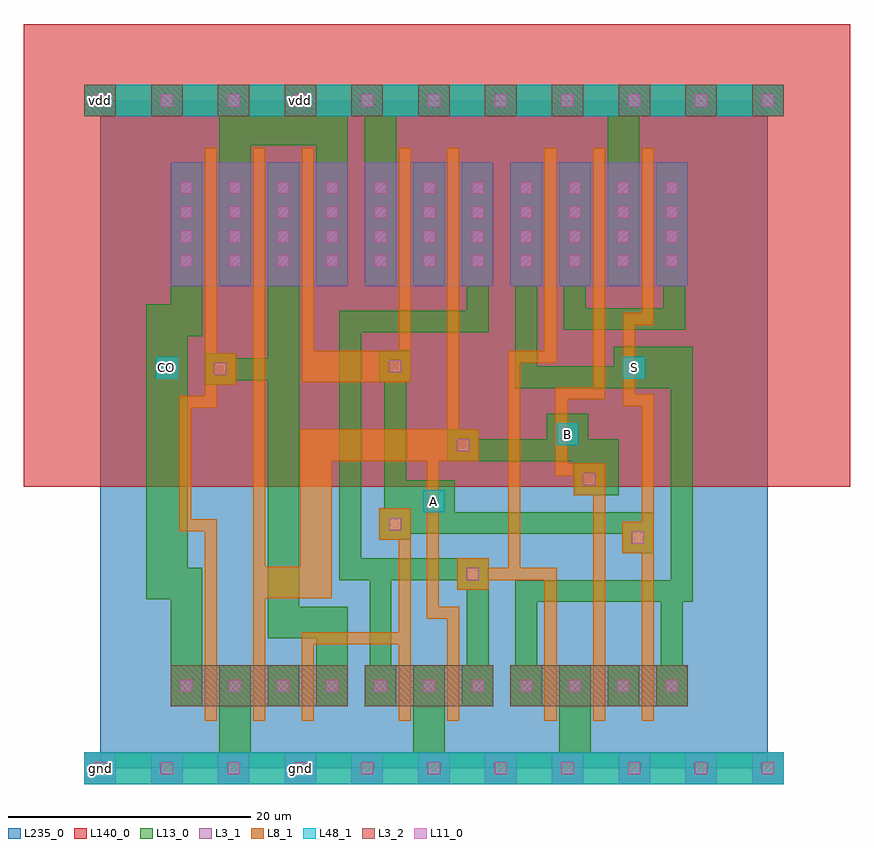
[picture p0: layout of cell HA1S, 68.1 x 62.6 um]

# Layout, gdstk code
import gdstk
lib = gdstk.Library(unit=1e-6, precision=1e-09)
def R(c, l, rs):  # rectangles x0, y0, x1, y1
    for r in rs: c.add(gdstk.rectangle(r[:2], r[2:], *l))
def A(c, l, x, y, w, h, nx, ny, dx, dy):  # array of equal rectangles
    R(c, l, [(x+i*dx, y+j*dy, x+i*dx+w, y+j*dy+h) for i in range(nx) for j in range(ny)])
def P(c, l, *ps):  # polygons
    for p in ps: c.add(gdstk.Polygon(p, *l))
L3_1 = (3, 1)
L3_2 = (3, 2)
L8_1 = (8, 1)
L11_0 = (11, 0)
L13_0 = (13, 0)
L48_1 = (48, 1)
L140_0 = (140, 0)
L235_0 = (235, 0)

cont_n = lib.new_cell('cont_n')
R(cont_n, L3_2, [(-1.3,-1.3,1.3,1.3)])
R(cont_n, L11_0, [(-0.5,-0.5,0.5,0.5)])
R(cont_n, L13_0, [(-1.3,-1.3,1.3,1.3)])

cont_p = lib.new_cell('cont_p')
R(cont_p, L3_1, [(-1.3,-1.3,1.3,1.3)])
R(cont_p, L11_0, [(-0.5,-0.5,0.5,0.5)])
R(cont_p, L13_0, [(-1.3,-1.3,1.3,1.3)])

ha1s = lib.new_cell('HA1S')
A(ha1s, L3_1, 5, 0, 2.6, 2.6, 4, 1, 5.5, 0)
R(ha1s, L3_1, [(5,0,7.6,2.6), (12.1,41,18.7,51.2), (12.1,41,18.7,51.2), (16.1,41,26.7,51.2), (16.1,41,26.7,51.2), (28.1,41,38.7,51.2), (28.1,41,38.7,51.2), (40.1,41,54.7,51.2), (40.1,41,54.7,51.2)])
A(ha1s, L3_2, 5, 55, 2.6, 2.6, 4, 1, 5.5, 0)
R(ha1s, L3_2, [(12.1,6.4,18.7,9.8), (16.1,6.4,26.7,9.8), (28.1,6.4,38.7,9.8), (40.1,6.4,54.7,9.8), (5,55,7.6,57.6)])
R(ha1s, L8_1, [(18.9,5.2,19.9,52.4), (22.9,34.4,23.9,52.4)])
P(ha1s, L8_1, [(22.9,5.2),(22.9,12.5),(31.9,12.5),(31.9,11.5),(23.9,11.5),(23.9,5.2)],
  [(29.3,33.1),(29.3,35.7),(30.9,35.7),(30.9,52.4),(31.9,52.4),(31.9,33.1)],
  [(30.9,5.2),(30.9,20.1),(29.3,20.1),(29.3,22.7),(31.9,22.7),(31.9,5.2)],
  [(50.9,5.2),(50.9,19),(49.3,19),(49.3,21.6),(50.9,21.6),(50.9,31.1),(49.4,31.1),(49.4,38.8),(50.9,38.8),(50.9,52.4),(51.9,52.4),(51.9,37.8),(50.4,37.8),(50.4,32.1),(51.9,32.1),(51.9,5.2)],
  [(46.9,5.2),(46.9,23.8),(45.3,23.8),(45.3,25.4),(43.8,25.4),(43.8,32.7),(46.9,32.7),(46.9,52.4),(47.9,52.4),(47.9,31.7),(44.8,31.7),(44.8,26.4),(47.9,26.4),(47.9,5.2)],
  [(42.9,5.2),(42.9,16.8),(38.3,16.8),(38.3,16),(35.7,16),(35.7,18.6),(38.3,18.6),(38.3,17.8),(39.9,17.8),(39.9,35.7),(42.9,35.7),(42.9,52.4),(43.9,52.4),(43.9,34.7),(40.9,34.7),(40.9,17.8),(43.9,17.8),(43.9,5.2)],
  [(34.9,5.2),(34.9,13.6),(33.2,13.6),(33.2,27.6),(34.9,27.6),(34.9,52.4),(35.9,52.4),(35.9,29.2),(37.5,29.2),(37.5,26.6),(34.2,26.6),(34.2,14.6),(35.9,14.6),(35.9,5.2)],
  [(14.9,5.2),(14.9,20.8),(12.8,20.8),(12.8,32),(14.9,32),(14.9,52.4),(15.9,52.4),(15.9,35.5),(17.5,35.5),(17.5,32.9),(15.9,32.9),(15.9,31),(13.8,31),(13.8,21.8),(15.9,21.8),(15.9,5.2)])
A(ha1s, L11_0, 5.8, 0.8, 1, 1, 4, 2, 5.5, 55)
A(ha1s, L11_0, 20.9, 7.6, 1, 1, 4, 1, 4, 0)
A(ha1s, L11_0, 32.9, 7.6, 1, 1, 4, 2, 4, 35)
A(ha1s, L11_0, 12.9, 42.6, 1, 1, 1, 4, 0, 2)
A(ha1s, L11_0, 24.9, 42.6, 1, 1, 3, 4, 4, 2)
A(ha1s, L11_0, 44.9, 42.6, 1, 1, 1, 4, 0, 2)
A(ha1s, L11_0, 52.9, 42.6, 1, 1, 1, 4, 0, 2)
A(ha1s, L11_0, 32.9, 44.6, 1, 1, 4, 3, 4, 2)
R(ha1s, L11_0, [(5.8,0.8,6.8,1.8), (12.9,7.6,13.9,8.6), (16.9,7.6,17.9,8.6), (16.9,7.6,17.9,8.6), (20.9,7.6,21.9,8.6), (44.9,7.6,45.9,8.6), (48.9,7.6,49.9,8.6), (48.9,7.6,49.9,8.6), (52.9,7.6,53.9,8.6), (36.5,16.8,37.5,17.8), (50.1,19.8,51.1,20.8), (30.1,20.9,31.1,21.9), (46.1,24.6,47.1,25.6), (35.7,27.4,36.7,28.4), (15.7,33.7,16.7,34.7), (30.1,33.9,31.1,34.9), (16.9,42.6,17.9,43.6), (16.9,42.6,17.9,43.6), (20.9,42.6,21.9,43.6), (20.9,42.6,21.9,43.6), (20.9,42.6,21.9,43.6), (20.9,42.6,21.9,43.6), (24.9,42.6,25.9,43.6), (24.9,42.6,25.9,43.6), (48.9,42.6,49.9,43.6), (48.9,42.6,49.9,43.6), (16.9,44.6,17.9,45.6), (16.9,44.6,17.9,45.6), (20.9,44.6,21.9,45.6), (20.9,44.6,21.9,45.6), (20.9,44.6,21.9,45.6), (20.9,44.6,21.9,45.6), (24.9,44.6,25.9,45.6), (24.9,44.6,25.9,45.6), (48.9,44.6,49.9,45.6), (48.9,44.6,49.9,45.6), (16.9,46.6,17.9,47.6), (16.9,46.6,17.9,47.6), (20.9,46.6,21.9,47.6), (20.9,46.6,21.9,47.6), (20.9,46.6,21.9,47.6), (20.9,46.6,21.9,47.6), (24.9,46.6,25.9,47.6), (24.9,46.6,25.9,47.6), (48.9,46.6,49.9,47.6), (48.9,46.6,49.9,47.6), (16.9,48.6,17.9,49.6), (16.9,48.6,17.9,49.6), (20.9,48.6,21.9,49.6), (20.9,48.6,21.9,49.6), (20.9,48.6,21.9,49.6), (20.9,48.6,21.9,49.6), (24.9,48.6,25.9,49.6), (24.9,48.6,25.9,49.6), (48.9,48.6,49.9,49.6), (48.9,48.6,49.9,49.6), (5.8,55.8,6.8,56.8)])
R(ha1s, L13_0, [(20.1,6.4,22.7,9.8), (48.1,6.4,50.7,9.8), (32.1,21.6,35.5,25), (43.1,27.1,46.5,30.5), (10.1,32.6,13.5,36), (48.6,32.6,52,36), (14.9,32.9,17.5,35.5), (29.3,33.1,31.9,35.7), (32.1,41,34.7,51.2)])
P(ha1s, L13_0, [(28.1,41),(28.1,55),(25.65,55),(25.65,57.6),(62.6,57.6),(62.6,55),(50.7,55),(50.7,41),(48.1,41),(48.1,55),(30.7,55),(30.7,41)],
  [(5,0),(5,2.6),(32.1,2.6),(32.1,9.8),(34.7,9.8),(34.7,2.6),(44.1,2.6),(44.1,9.8),(46.7,9.8),(46.7,2.6),(62.6,2.6),(62.6,0)],
  [(16.1,41),(16.1,55),(5,55),(5,57.6),(62.6,57.6),(62.6,55),(26.7,55),(26.7,41),(24.1,41),(24.1,52.6),(18.7,52.6),(18.7,41)],
  [(12.1,6.4),(12.1,15.2),(10.1,15.2),(10.1,39.5),(12.1,39.5),(12.1,51.2),(14.7,51.2),(14.7,36.9),(13.5,36.9),(13.5,17.8),(14.7,17.8),(14.7,6.4)],
  [(40.1,6.4),(40.1,9.8),(40.5,9.8),(40.5,16.8),(53.3,16.8),(53.3,32.6),(40.5,32.6),(40.5,41),(40.1,41),(40.1,51.2),(42.7,51.2),(42.7,41),(42.3,41),(42.3,34.4),(51.1,34.4),(51.1,36),(55.1,36),(55.1,15),(54.3,15),(54.3,9.8),(54.7,9.8),(54.7,6.4),(52.1,6.4),(52.1,9.8),(52.5,9.8),(52.5,15),(42.3,15),(42.3,9.8),(42.7,9.8),(42.7,6.4)],
  [(45.3,23.8),(45.3,26.6),(34.9,26.6),(34.9,29.2),(37.5,29.2),(37.5,28.4),(49,28.4),(49,23.8)],
  [(49.3,19),(49.3,20.6),(31.9,20.6),(31.9,20.1),(29.3,20.1),(29.3,22.7),(31.9,22.7),(31.5,22.7),(31.5,25),(35.5,25),(35.5,22.4),(51.9,22.4),(51.9,19)],
  [(28.1,6.4),(28.1,9.8),(28.5,9.8),(28.5,16.8),(26,16.8),(26,39),(36.5,39),(36.5,41),(36.1,41),(36.1,51.2),(38.7,51.2),(38.7,41),(38.3,41),(38.3,37.2),(27.8,37.2),(27.8,18.6),(38.3,18.6),(38.3,9.8),(38.7,9.8),(38.7,6.4),(36.1,6.4),(36.1,9.8),(36.5,9.8),(36.5,16),(35.7,16),(35.7,16.8),(30.3,16.8),(30.3,9.8),(30.7,9.8),(30.7,6.4)],
  [(44.5,37.4),(44.5,41),(44.1,41),(44.1,51.2),(46.7,51.2),(46.7,41),(46.3,41),(46.3,39.2),(52.7,39.2),(52.7,41),(52.1,41),(52.1,51.2),(54.7,51.2),(54.7,41),(54.5,41),(54.5,37.4)])
R(ha1s, L48_1, [(5,0,62.6,2.6), (5,0,7.6,2.6), (32.9,22.4,34.7,24.2), (43.9,27.9,45.7,29.7), (10.9,33.4,12.7,35.2), (49.4,33.4,51.2,35.2), (5,55,62.6,57.6), (5,55,7.6,57.6)])
R(ha1s, L140_0, [(0,24.5,68.1,62.6)])
R(ha1s, L235_0, [(6.3,1.3,61.3,56.3)])
ha1s.add(gdstk.FlexPath([(16.3,34.15),(21.4,34.15)], 1.8, ends="extended", simple_path=True, layer=13, datatype=0))  # L13_0
ha1s.add(gdstk.FlexPath([(30.6,21.4),(30.6,34.4)], 1.8, ends="extended", simple_path=True, layer=13, datatype=0))  # L13_0
ha1s.add(gdstk.FlexPath([(17.4,8.5),(17.4,1.3)], 2.6, ends="extended", simple_path=True, layer=13, datatype=0))  # L13_0
ha1s.add(gdstk.FlexPath([(21.4,49.9),(21.4,13.3),(25.4,13.3),(25.4,7.7)], 2.6, ends="extended", simple_path=True, layer=13, datatype=0))  # L13_0
ha1s.add(gdstk.FlexPath([(20.2,16.6),(24.1,16.6),(24.1,27.9),(36.2,27.9)], 2.6, ends="extended", simple_path=True, layer=8, datatype=1))  # L8_1
ha1s.add(gdstk.FlexPath([(30.6,34.4),(24.2,34.4)], 2.6, ends="extended", simple_path=True, layer=8, datatype=1))  # L8_1
ha1s.add(gdstk.Reference(cont_n, (55.8,56.3)))
ha1s.add(gdstk.Reference(cont_n, (28.3,56.3)))
ha1s.add(gdstk.Reference(cont_n, (39.3,56.3)))
ha1s.add(gdstk.Reference(cont_n, (33.8,56.3)))
ha1s.add(gdstk.Reference(cont_n, (44.8,56.3)))
ha1s.add(gdstk.Reference(cont_n, (50.3,56.3)))
ha1s.add(gdstk.Reference(cont_p, (28.3,1.3)))
ha1s.add(gdstk.Reference(cont_p, (33.8,1.3)))
ha1s.add(gdstk.Reference(cont_p, (39.3,1.3)))
ha1s.add(gdstk.Reference(cont_p, (44.8,1.3)))
ha1s.add(gdstk.Reference(cont_p, (50.3,1.3)))
ha1s.add(gdstk.Reference(cont_p, (55.8,1.3)))
ha1s.add(gdstk.Reference(cont_n, (61.3,56.3)))
ha1s.add(gdstk.Reference(cont_p, (61.3,1.3)))
ha1s.add(gdstk.Label('CO', (11.8,34.3), layer=48, texttype=0))
ha1s.add(gdstk.Label('S', (50.3,34.3), layer=48, texttype=0))
ha1s.add(gdstk.Label('B', (44.8,28.8), layer=48, texttype=0))
ha1s.add(gdstk.Label('A', (33.8,23.3), layer=48, texttype=0))
ha1s.add(gdstk.Label('gnd', (22.8,1.3), layer=48, texttype=0))
ha1s.add(gdstk.Label('vdd', (22.8,56.3), layer=48, texttype=0))
ha1s.add(gdstk.Label('vdd', (6.3,56.3), layer=48, texttype=0))
ha1s.add(gdstk.Label('gnd', (6.3,1.3), layer=48, texttype=0))

lib.write_gds('HA1S.gds')
